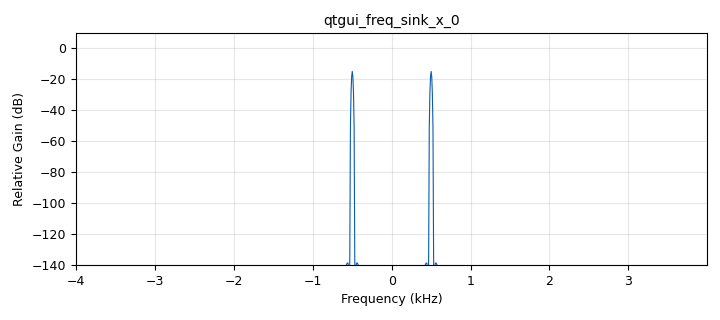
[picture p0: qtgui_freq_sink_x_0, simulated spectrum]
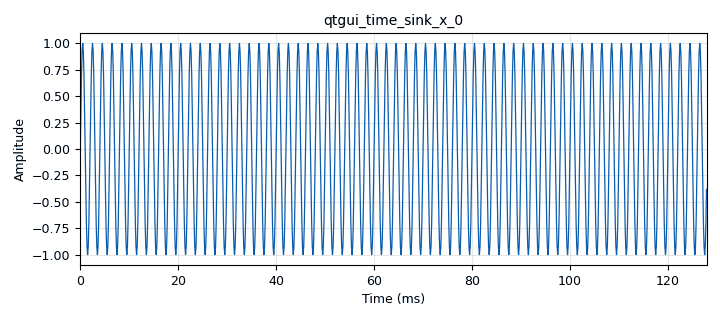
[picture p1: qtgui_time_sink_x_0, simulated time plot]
options:
  parameters:
    author: Leocarlos B S Lima
    category: Custom
    description: Experimento para Laboratório de Princípios de Comunicações. Departamento de Engenharia Elétrica - DEE da Universidade Federal de Campina Grande - UFCG.
    generate_options: qt_gui
    id: Labo1_1
    output_language: python
    title: Experimentando o GRC
  states: {}

blocks:
- name: f
  id: variable_qtgui_range
  parameters:
    label: Frequência
    min_len: '100'
    start: samp_rate/16
    step: '10'
    stop: samp_rate/4
    value: samp_rate/16
  states: {}
- name: samp_rate
  id: variable
  parameters:
    value: '8000'
  states: {}
- name: blocks_rms_xx_0
  id: blocks_rms_xx
  parameters:
    alpha: '0.0001'
    type: float
  states: {}
- name: blocks_throttle_0
  id: blocks_throttle
  parameters:
    samples_per_second: samp_rate
    type: float
  states: {}
- name: fundamental
  id: analog_sig_source_x
  parameters:
    amp: '1.0'
    freq: f
    offset: '0'
    phase: '0'
    samp_rate: samp_rate
    type: float
    waveform: analog.GR_SIN_WAVE
  states: {}
- name: power
  id: qtgui_number_sink
  parameters:
    graph_type: qtgui.NUM_GRAPH_NONE
    name: Potência (RMS)
    type: float
  states: {}
- name: qtgui_freq_sink_x_0
  id: qtgui_freq_sink_x
  parameters:
    bw: samp_rate
    fc: '0'
    fftsize: '1024'
    showports: 'True'
    type: float
  states: {}
- name: qtgui_time_sink_x_0
  id: qtgui_time_sink_x
  parameters:
    autoscale: 'True'
    grid: 'True'
    label1: ''
    size: '1024'
    srate: samp_rate
    type: float
  states: {}

connections:
- [blocks_rms_xx_0, '0', power, '0']
- [blocks_throttle_0, '0', blocks_rms_xx_0, '0']
- [blocks_throttle_0, '0', qtgui_freq_sink_x_0, '0']
- [blocks_throttle_0, '0', qtgui_time_sink_x_0, '0']
- [fundamental, '0', blocks_throttle_0, '0']

metadata:
  file_format: 1
  grc_version: 3.10.7.0
